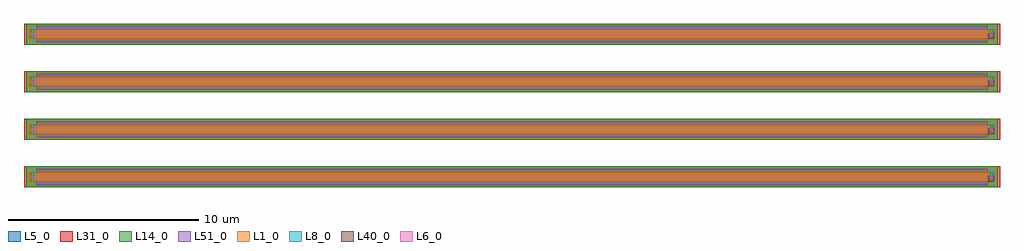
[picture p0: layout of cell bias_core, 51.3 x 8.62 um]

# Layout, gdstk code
import gdstk
lib = gdstk.Library(unit=1e-6, precision=1e-09)
def R(c, l, rs):  # rectangles x0, y0, x1, y1
    for r in rs: c.add(gdstk.rectangle(r[:2], r[2:], *l))
L1_0 = (1, 0)
L5_0 = (5, 0)
L6_0 = (6, 0)
L8_0 = (8, 0)
L14_0 = (14, 0)
L31_0 = (31, 0)
L40_0 = (40, 0)
L51_0 = (51, 0)

pmos_6_pm3 = lib.new_cell('pmos$6_PM3')
R(pmos_6_pm3, L1_0, [(0,0,0.3,0.3), (0,0,50.68,0.5), (50.38,0,50.68,0.3)])
R(pmos_6_pm3, L5_0, [(0.34,-0.18,50.34,0.68), (0.34,-0.18,50.34,0.68)])
R(pmos_6_pm3, L6_0, [(0.07,0.17,0.23,0.33), (50.45,0.17,50.61,0.33)])
R(pmos_6_pm3, L8_0, [(0.07,0,0.23,0.5), (0.07,0,0.23,0.5), (50.45,0,50.61,0.5), (50.45,0,50.61,0.5)])
R(pmos_6_pm3, L14_0, [(-0.18,-0.3,50.86,0.8)])
R(pmos_6_pm3, L31_0, [(-0.31,-0.31,50.99,0.81)])
R(pmos_6_pm3, L40_0, [(50.38,0,50.68,0.3)])
R(pmos_6_pm3, L51_0, [(0.34,-0.18,50.34,0.68)])
pmos_6_pm3.add(gdstk.Label('pmos', (25.34,0.25), layer=63, texttype=0))
pmos_6_pm3.add(gdstk.Label('pmos', (25.34,0.25), layer=51, texttype=0))

pmos_6_pm4 = lib.new_cell('pmos$6_PM4')
R(pmos_6_pm4, L1_0, [(0,0,0.3,0.3), (0,0,50.68,0.5), (50.38,0,50.68,0.3)])
R(pmos_6_pm4, L5_0, [(0.34,-0.18,50.34,0.68), (0.34,-0.18,50.34,0.68)])
R(pmos_6_pm4, L6_0, [(0.07,0.17,0.23,0.33), (50.45,0.17,50.61,0.33)])
R(pmos_6_pm4, L8_0, [(0.07,0,0.23,0.5), (0.07,0,0.23,0.5), (50.45,0,50.61,0.5), (50.45,0,50.61,0.5)])
R(pmos_6_pm4, L14_0, [(-0.18,-0.3,50.86,0.8)])
R(pmos_6_pm4, L31_0, [(-0.31,-0.31,50.99,0.81)])
R(pmos_6_pm4, L40_0, [(50.38,0,50.68,0.3)])
R(pmos_6_pm4, L51_0, [(0.34,-0.18,50.34,0.68)])
pmos_6_pm4.add(gdstk.Label('pmos', (25.34,0.25), layer=63, texttype=0))
pmos_6_pm4.add(gdstk.Label('pmos', (25.34,0.25), layer=51, texttype=0))

pmos_6_pm5 = lib.new_cell('pmos$6_PM5')
R(pmos_6_pm5, L1_0, [(0,0,0.3,0.3), (0,0,50.68,0.5), (50.38,0,50.68,0.3)])
R(pmos_6_pm5, L5_0, [(0.34,-0.18,50.34,0.68), (0.34,-0.18,50.34,0.68)])
R(pmos_6_pm5, L6_0, [(0.07,0.17,0.23,0.33), (50.45,0.17,50.61,0.33)])
R(pmos_6_pm5, L8_0, [(0.07,0,0.23,0.5), (0.07,0,0.23,0.5), (50.45,0,50.61,0.5), (50.45,0,50.61,0.5)])
R(pmos_6_pm5, L14_0, [(-0.18,-0.3,50.86,0.8)])
R(pmos_6_pm5, L31_0, [(-0.31,-0.31,50.99,0.81)])
R(pmos_6_pm5, L40_0, [(50.38,0,50.68,0.3)])
R(pmos_6_pm5, L51_0, [(0.34,-0.18,50.34,0.68)])
pmos_6_pm5.add(gdstk.Label('pmos', (25.34,0.25), layer=63, texttype=0))
pmos_6_pm5.add(gdstk.Label('pmos', (25.34,0.25), layer=51, texttype=0))

pmos_6_pm_ref = lib.new_cell('pmos$6_PM_ref')
R(pmos_6_pm_ref, L1_0, [(0,0,0.3,0.3), (0,0,50.68,0.5), (50.38,0,50.68,0.3)])
R(pmos_6_pm_ref, L5_0, [(0.34,-0.18,50.34,0.68), (0.34,-0.18,50.34,0.68)])
R(pmos_6_pm_ref, L6_0, [(0.07,0.17,0.23,0.33), (50.45,0.17,50.61,0.33)])
R(pmos_6_pm_ref, L8_0, [(0.07,0,0.23,0.5), (0.07,0,0.23,0.5), (50.45,0,50.61,0.5), (50.45,0,50.61,0.5)])
R(pmos_6_pm_ref, L14_0, [(-0.18,-0.3,50.86,0.8)])
R(pmos_6_pm_ref, L31_0, [(-0.31,-0.31,50.99,0.81)])
R(pmos_6_pm_ref, L40_0, [(50.38,0,50.68,0.3)])
R(pmos_6_pm_ref, L51_0, [(0.34,-0.18,50.34,0.68)])
pmos_6_pm_ref.add(gdstk.Label('pmos', (25.34,0.25), layer=63, texttype=0))
pmos_6_pm_ref.add(gdstk.Label('pmos', (25.34,0.25), layer=51, texttype=0))

bias_core = lib.new_cell('bias_core')
bias_core.add(gdstk.Reference(pmos_6_pm3, (0.31,0.31)))
bias_core.add(gdstk.Reference(pmos_6_pm4, (0.31,2.81)))
bias_core.add(gdstk.Reference(pmos_6_pm5, (0.31,5.31)))
bias_core.add(gdstk.Reference(pmos_6_pm_ref, (0.31,7.81)))

lib.write_gds('bias_core.gds')
